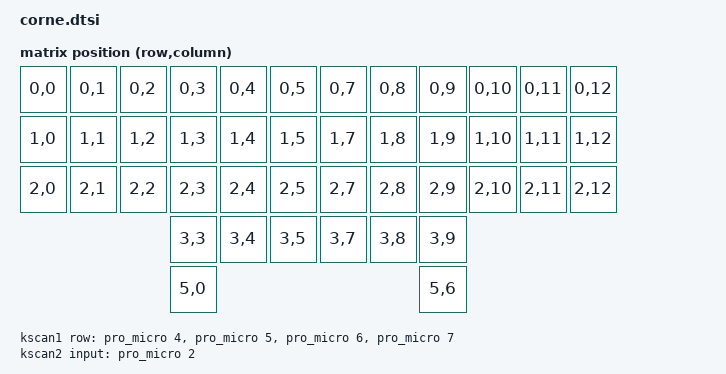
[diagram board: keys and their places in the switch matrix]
/*
 * Copyright (c) 2020 Pete Johanson
 *
 * SPDX-License-Identifier: MIT
 */

#include <dt-bindings/zmk/matrix_transform.h>

/ {
    chosen {
        zmk,kscan = &kscan0;
        zmk,matrix-transform = &default_transform;
    };

    kscan0: kscan_composite {
        compatible = "zmk,matrix-transform";
        columns = <14>;
        rows = <6>;
// | SW1  | SW2  | SW3  | SW4  | SW5  | SW6  |   | SW6  | SW5  | SW4  | SW3  | SW2  | SW1  |
// | SW7  | SW8  | SW9  | SW10 | SW11 | SW12 |   | SW12 | SW11 | SW10 | SW9  | SW8  | SW7  |
// | SW13 | SW14 | SW15 | SW16 | SW17 | SW18 |   | SW18 | SW17 | SW16 | SW15 | SW14 | SW13 |
//                      | SW19 | SW20 | SW21 |   | SW21 | SW20 | SW19 |
        map = <
RC(0,0) RC(0,1) RC(0,2) RC(0,3) RC(0,4) RC(0,5)  RC(0,7) RC(0,8) RC(0,9) RC(0,10) RC(0,11) RC(0,12)
RC(1,0) RC(1,1) RC(1,2) RC(1,3) RC(1,4) RC(1,5)  RC(1,7) RC(1,8) RC(1,9) RC(1,10) RC(1,11) RC(1,12)
RC(2,0) RC(2,1) RC(2,2) RC(2,3) RC(2,4) RC(2,5)  RC(2,7) RC(2,8) RC(2,9) RC(2,10) RC(2,11) RC(2,12)
                        RC(3,3) RC(3,4) RC(3,5)  RC(3,7) RC(3,8) RC(3,9)
                        RC(5,0)                                  RC(5,6)
        >;

        // Include the matrix driver
        matrix {
            kscan = <&kscan1>;
        };

        // Include the direct GPIO driver...
        direct {
            kscan = <&kscan2>;
            row-offset = <6>; // ...and shift it to not overlap
        };
    };

    kscan1: kscan_matrix {
        compatible = "zmk,kscan-gpio-matrix";
        wakeup-source;

        diode-direction = "col2row";
        row-gpios
            = <&pro_micro 4 (GPIO_ACTIVE_HIGH | GPIO_PULL_DOWN)>
            , <&pro_micro 5 (GPIO_ACTIVE_HIGH | GPIO_PULL_DOWN)>
            , <&pro_micro 6 (GPIO_ACTIVE_HIGH | GPIO_PULL_DOWN)>
            , <&pro_micro 7 (GPIO_ACTIVE_HIGH | GPIO_PULL_DOWN)>
            ;

    };
    
     kscan2: kscan_direct {
        compatible = "zmk,kscan-gpio-direct";
        wakeup-source;
        input-gpios
            = <&pro_micro 2 (GPIO_ACTIVE_LOW | GPIO_PULL_UP)>
            ;
        debounce-press-ms = <5>;
        debounce-release-ms = <5>;
    };

    // TODO: per-key RGB node(s)?
};

